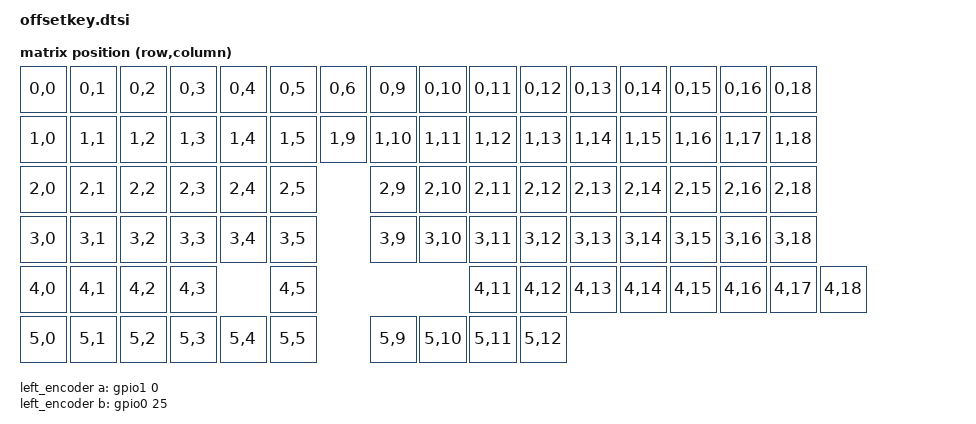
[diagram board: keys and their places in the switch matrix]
// 引用的库文件，<>的是官方库和第三方库的硬件配置、定义之类，""的是本仓库内的基础硬件配置
#include <dt-bindings/zmk/matrix_transform.h>
#include  "offsetkey_physical_layout.dtsi"
#include <dt-bindings/led/led.h>

/ {
     chosen {
        // 绑定物理布局定义
        zmk,physical-layout = &offsetkey_physical_layout;
        // 使用OLED屏幕
        zephyr,display = &oled;
        // 使用按键扫描定义kscan0
        zmk,kscan = &kscan0;
        // 使用键盘背光
        zmk,backlight = &backlight;
    };

// === 键盘背光设置 ===
// 键盘背光节点
backlight: pwmleds {
    // 使用pwm-leds驱动
    compatible = "pwm-leds";
    // 0和2被注释禁用，只启用1
    // 周期 1ms、正常极性
   // pwm_led_0: pwm_led_0 {
   //     pwms = <&pwm0 0 PWM_MSEC(1) PWM_POLARITY_NORMAL>;
  //  };
    pwm_led_1: pwm_led_1 {
        pwms = <&pwm0 1 PWM_MSEC(1) PWM_POLARITY_NORMAL>;
    };
  //  pwm_led_2: pwm_led_2 {
   //     pwms = <&pwm0 2 PWM_MSEC(1) PWM_POLARITY_NORMAL>;
  //  };
};

    // 左旋钮编码器节点
	left_encoder: encoder_left {
        // 使用ec11驱动，基本上各种编码器都用这个驱动就行，包括但不限于普通旋钮编码器，松下滚轮编码器，鼠标滚轮编码器等
		compatible = "alps,ec11";
        // 标签定义
		label = "LEFT_ENCODER";
        // 脉冲数和定位数，是旋钮的基础参数，具体数值需要看自己买的旋转编码器的规格书，如果没有规格书就找卖家问清楚
        // 每旋转一格AB相边沿采样数，=脉冲数*4/定位数
		resolution = <4>;
        // 定位数，旋转一圈有40格
        steps = <40>;
        // AB相引脚定义
        a-gpios = <&gpio1 0 (GPIO_ACTIVE_HIGH | GPIO_PULL_UP)>;
	    b-gpios = <&gpio0 25 (GPIO_ACTIVE_HIGH | GPIO_PULL_UP)>;
        // 默认不启用，在对应的overlay文件中启用
		status = "disabled";
	};

    //传感器节点
    sensors {
        // 使用sensors驱动
		compatible = "zmk,keymap-sensors";
        // 每圈触发按键动作数，现在代码里一圈有40格，如果触发20次动作，意思就是每2格触发一次动作，有一点慢，但是我个人习惯是一次拧两格，所以就还好
        triggers-per-rotation = <20>;
		sensors = <&left_encoder>;
	};

    // 矩阵定义
    default_transform: keymap_transform_0 {
        // 使用矩阵转换
		compatible = "zmk,matrix-transform";
        // 总列数和总行数
        columns = <19>;
        rows = <6>;
        // 每个按键所在的行/列。前5行是标准矩阵变换的按键，第6行是direct pin的按键
        map = <
            RC(0,0) RC(0,1) RC(0,2) RC(0,3) RC(0,4) RC(0,5) RC(0,6)            RC(0,9) RC(0,10) RC(0,11) RC(0,12) RC(0,13) RC(0,14) RC(0,15) RC(0,16) RC(0,18)
            RC(1,0) RC(1,1) RC(1,2) RC(1,3) RC(1,4) RC(1,5)                    RC(1,9) RC(1,10) RC(1,11) RC(1,12) RC(1,13) RC(1,14) RC(1,15) RC(1,16) RC(1,17) RC(1,18)
            RC(2,0) RC(2,1) RC(2,2) RC(2,3) RC(2,4) RC(2,5)                    RC(2,9) RC(2,10) RC(2,11) RC(2,12) RC(2,13) RC(2,14) RC(2,15) RC(2,16) RC(2,18)
            RC(3,0) RC(3,1) RC(3,2) RC(3,3) RC(3,4) RC(3,5)                    RC(3,9) RC(3,10) RC(3,11) RC(3,12) RC(3,13) RC(3,14) RC(3,15) RC(3,16) RC(3,18)
            RC(4,0) RC(4,1) RC(4,2) RC(4,3)         RC(4,5)                                     RC(4,11) RC(4,12) RC(4,13) RC(4,14) RC(4,15) RC(4,16) RC(4,17) RC(4,18)
            RC(5,0) RC(5,1) RC(5,2) RC(5,3) RC(5,4) RC(5,5)                    RC(5,9) RC(5,10) RC(5,11) RC(5,12)
        >;
    };
};    

// i2c节点
&i2c0 {
	status = "okay";
	compatible = "nordic,nrf-twi";
    pinctrl-0 = <&i2c0_default>;
    pinctrl-1 = <&i2c0_sleep>;
    // offsetkey默认屏幕模块使用的是0.91英寸OLED屏幕，ssd1306驱动，如果是别的屏幕，比如1.3英寸屏幕用的是sh1106驱动，需要把下面两行修改成对应的型号
    oled: ssd1306@3c {
        // 引号内的屏幕型号详见Zephyr相关页面https://docs.zephyrproject.org/4.1.0/build/dts/api/bindings.html
        compatible = "solomon,ssd1306fb";
        reg = <0x3c>;
        // 屏幕分辨率，宽128，高32
        width = <128>;
        height = <32>;
        // 下面四行一般不修改
        segment-offset = <0>;
        page-offset = <0>;
        display-offset = <0>;
        // 多路复用比率，0到31，共32行
        multiplex-ratio = <31>;
        // 下面四行调整画面用
        // 水平翻转
        segment-remap;
        // 垂直翻转
        com-invdir;
        // 画面顺序扫描
        com-sequential;
        // 像素反转
        inversion-on;
        // 这个不修改
        prechargep = <0x22>;
    };
};

// 引脚控制配置，这一段是backlight键盘背光的引脚配置，一般人用不到，可删
&pinctrl {
    // Other Pinctrl definitions go here
    pwm0_default: pwm0_default {
        group1 {
            // 括号里面的0, 27是引脚编号，前面的1是PWM_OUT1
            psels = //<NRF_PSEL(PWM_OUT0, 1, 3)>, 
                    <NRF_PSEL(PWM_OUT1, 0, 27)>; // LED 1
                   // <NRF_PSEL(PWM_OUT2, 1, 2)>; LED 2
        };
    };
    pwm0_sleep: pwm0_sleep {
        group1 {
            psels = //<NRF_PSEL(PWM_OUT0, 1, 3)>, 
                    <NRF_PSEL(PWM_OUT1, 0, 27)>; // LED 1
                                                                 // <NRF_PSEL(PWM_OUT2, 1, 2)>;
            low-power-enable;
        };
    };
};










